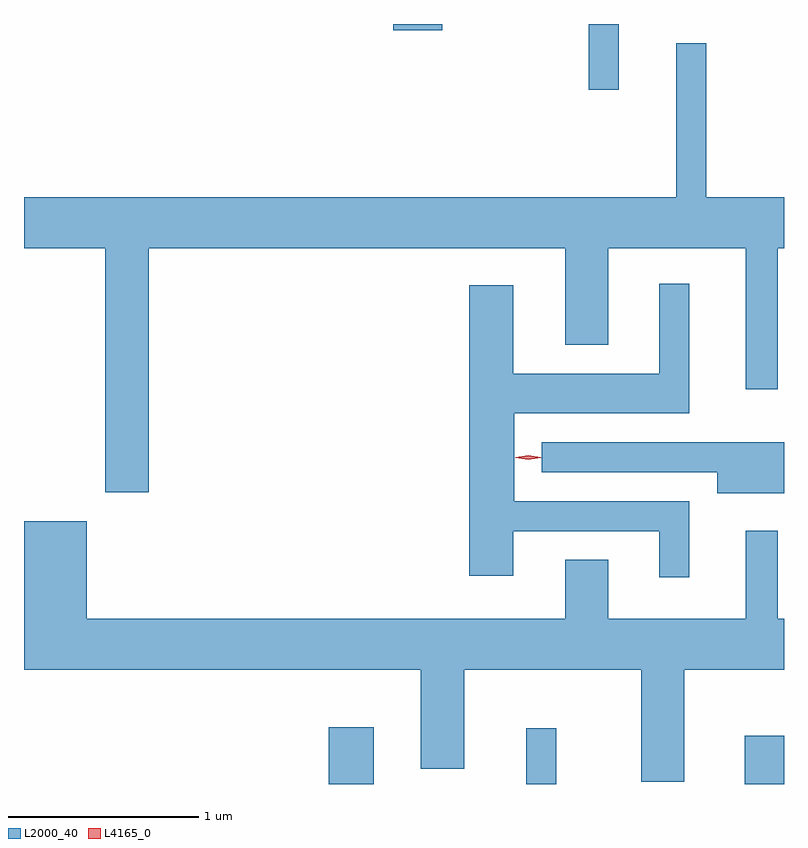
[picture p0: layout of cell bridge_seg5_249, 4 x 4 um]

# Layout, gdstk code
import gdstk
lib = gdstk.Library(unit=1e-6, precision=1e-09)
def R(c, l, rs):  # rectangles x0, y0, x1, y1
    for r in rs: c.add(gdstk.rectangle(r[:2], r[2:], *l))
def P(c, l, *ps):  # polygons
    for p in ps: c.add(gdstk.Polygon(p, *l))
L2000_40 = (2000, 40)
L4165_0 = (4165, 0)

bridge_seg5_249 = lib.new_cell('bridge_seg5_249')
R(bridge_seg5_249, L2000_40, [(917.926,1480.615,918.164,1480.914), (918.966,1480.615,919.124,1480.908), (920.116,1480.615,920.323,1480.869), (919.296,1484.268,919.454,1484.615), (918.266,1484.581,918.524,1484.615)])
P(bridge_seg5_249, L2000_40, [(916.979,1483.436),(919.171,1483.436),(919.171,1482.926),(919.399,1482.926),(919.399,1483.436),(920.121,1483.436),(920.121,1482.693),(920.289,1482.693),(920.289,1483.436),(920.323,1483.436),(920.323,1483.704),(919.914,1483.704),(919.914,1484.513),(919.756,1484.513),(919.756,1483.704),(916.323,1483.704),(916.323,1483.436),(916.751,1483.436),(916.751,1482.151),(916.979,1482.151)],
  [(919.824,1482.104),(918.904,1482.104),(918.904,1482.566),(919.824,1482.566),(919.824,1483.248),(919.666,1483.248),(919.666,1482.774),(918.899,1482.774),(918.899,1483.239),(918.666,1483.239),(918.666,1481.711),(918.899,1481.711),(918.899,1481.946),(919.666,1481.946),(919.666,1481.703),(919.824,1481.703)],
  [(920.323,1482.414),(919.048,1482.414),(919.048,1482.256),(919.971,1482.256),(919.971,1482.146),(920.323,1482.146)],
  [(919.799,1481.216),(920.323,1481.216),(920.323,1481.484),(920.289,1481.484),(920.289,1481.948),(920.121,1481.948),(920.121,1481.484),(919.399,1481.484),(919.399,1481.794),(919.171,1481.794),(919.171,1481.484),(916.654,1481.484),(916.654,1481.999),(916.323,1481.999),(916.323,1481.216),(918.411,1481.216),(918.411,1480.696),(918.639,1480.696),(918.639,1481.216),(919.571,1481.216),(919.571,1480.626),(919.799,1480.626)])
P(bridge_seg5_249, L4165_0, [(918.977,1482.322),(918.908,1482.332),(918.907,1482.332),(918.908,1482.333),(918.977,1482.342),(919.046,1482.333),(919.046,1482.332),(919.046,1482.332)],
  [(918.977,1482.324),(918.911,1482.333),(918.91,1482.334),(918.911,1482.334),(918.977,1482.344),(919.042,1482.334),(919.043,1482.334),(919.042,1482.333)])

lib.write_gds('bridge_seg5_249.gds')
